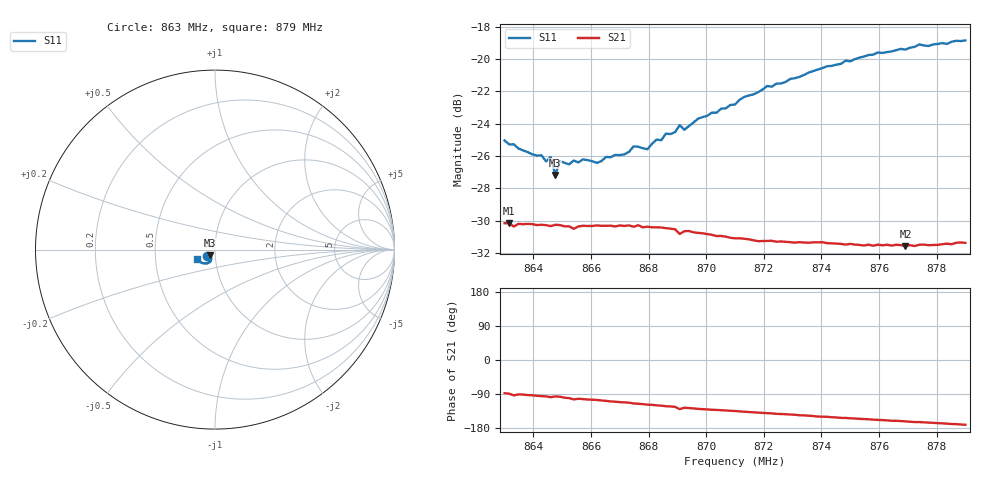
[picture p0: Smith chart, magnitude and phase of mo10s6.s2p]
# HZ S RI R 50
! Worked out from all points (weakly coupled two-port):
!   101 points, 863 MHz to 879 MHz, reference 50 ohm
!   highest |S21| = -30.16 dB at 863.16 MHz (marker M1); lowest = -31.6 dB at 876.92 MHz (marker M2)
!   lowest |S11| = -27.2 dB at 864.76 MHz (marker M3), VSWR 1.09, Z = 47.1 - j3.1 ohm
!   |S11| at or under -10 dB: start of sweep to end of sweep
!   S12 and S22 are empty: the file has one direction only
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8.63e8  -0.0429 -0.0359  0.0013 -0.031  0 0  0 0
8.6316e8  -0.0411 -0.0356  0.000581 -0.031  0 0  0 0
8.6428e8  -0.0337 -0.0374  -0.00285 -0.0306  0 0  0 0
8.6444e8  -0.0328 -0.0353  -0.00322 -0.0304  0 0  0 0
8.646e8  -0.0333 -0.0369  -0.00428 -0.0301  0 0  0 0
8.6476e8  -0.029 -0.0328  -0.00331 -0.0305  0 0  0 0
8.6492e8  -0.029 -0.0387  -0.00365 -0.0304  0 0  0 0
8.6524e8  -0.0278 -0.0382  -0.00557 -0.0298  0 0  0 0
8.6572e8  -0.0267 -0.041  -0.00692 -0.0297  0 0  0 0
8.662e8  -0.0255 -0.0403  -0.00815 -0.0295  0 0  0 0
8.6748e8  -0.0223 -0.0488  -0.0126 -0.0275  0 0  0 0
8.6796e8  -0.0229 -0.0474  -0.0141 -0.0268  0 0  0 0
8.6844e8  -0.0212 -0.0519  -0.0153 -0.0259  0 0  0 0
8.6908e8  -0.0251 -0.0572  -0.0184 -0.0221  0 0  0 0
8.6924e8  -0.0245 -0.0552  -0.0172 -0.0237  0 0  0 0
8.6972e8  -0.0232 -0.0611  -0.0182 -0.0225  0 0  0 0
8.71e8  -0.0281 -0.0666  -0.0195 -0.0199  0 0  0 0
8.7212e8  -0.0363 -0.0742  -0.021 -0.0175  0 0  0 0
8.7372e8  -0.0489 -0.0777  -0.0229 -0.0144  0 0  0 0
8.7644e8  -0.0781 -0.071  -0.0249 -0.00887  0 0  0 0
8.7692e8  -0.0831 -0.0674  -0.0251 -0.00814  0 0  0 0
8.79e8  -0.102 -0.0513  -0.0266 -0.00429  0 0  0 0
